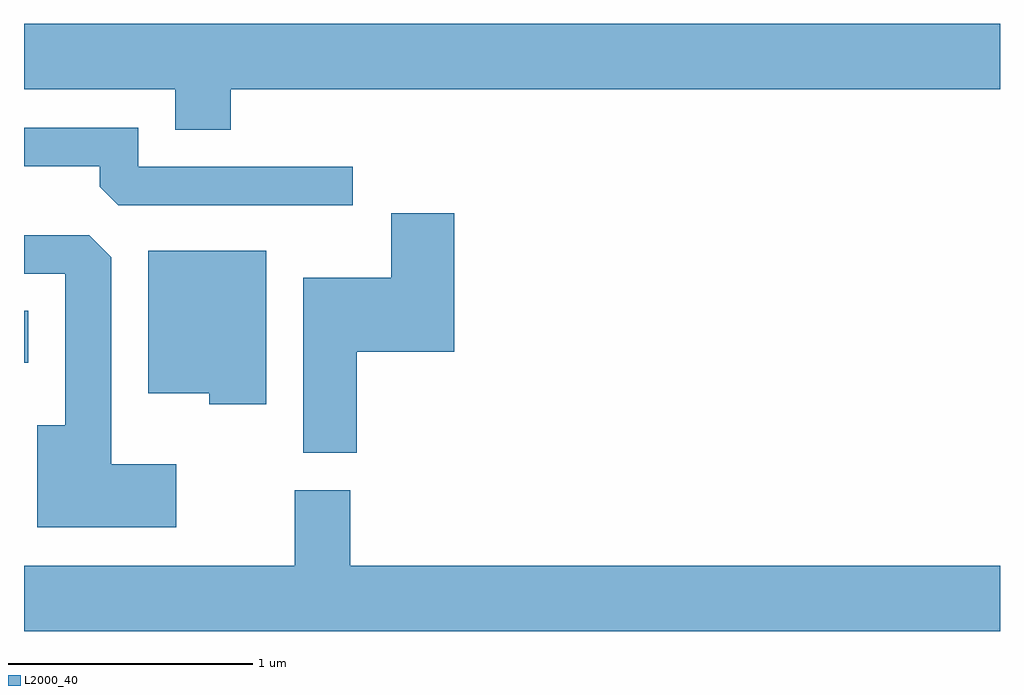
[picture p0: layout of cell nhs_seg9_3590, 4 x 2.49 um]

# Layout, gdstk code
import gdstk
lib = gdstk.Library(unit=1e-6, precision=1e-09)
def R(c, l, rs):  # rectangles x0, y0, x1, y1
    for r in rs: c.add(gdstk.rectangle(r[:2], r[2:], *l))
def P(c, l, *ps):  # polygons
    for p in ps: c.add(gdstk.Polygon(p, *l))
L2000_40 = (2000, 40)

nhs_seg9_3590 = lib.new_cell('nhs_seg9_3590')
R(nhs_seg9_3590, L2000_40, [(289.611,2070.616,289.629,2070.829)])
P(nhs_seg9_3590, L2000_40, [(290.459,2071.736),(293.611,2071.736),(293.611,2072.004),(289.611,2072.004),(289.611,2071.736),(290.231,2071.736),(290.231,2071.571),(290.459,2071.571)],
  [(290.958,2071.419),(290.079,2071.419),(290.079,2071.579),(289.611,2071.579),(289.611,2071.421),(289.921,2071.421),(289.921,2071.337),(289.997,2071.261),(290.958,2071.261)],
  [(290.974,2070.661),(291.374,2070.661),(291.374,2071.229),(291.116,2071.229),(291.116,2070.964),(290.756,2070.964),(290.756,2070.246),(290.974,2070.246)],
  [(290.234,2070.199),(289.969,2070.199),(289.969,2071.048),(289.879,2071.139),(289.611,2071.139),(289.611,2070.981),(289.781,2070.981),(289.781,2070.359),(289.666,2070.359),(289.666,2069.941),(290.234,2069.941)],
  [(290.604,2071.074),(290.121,2071.074),(290.121,2070.491),(290.371,2070.491),(290.371,2070.446),(290.604,2070.446)],
  [(293.611,2069.784),(290.949,2069.784),(290.949,2070.094),(290.721,2070.094),(290.721,2069.784),(289.611,2069.784),(289.611,2069.516),(293.611,2069.516)])

lib.write_gds('nhs_seg9_3590.gds')
